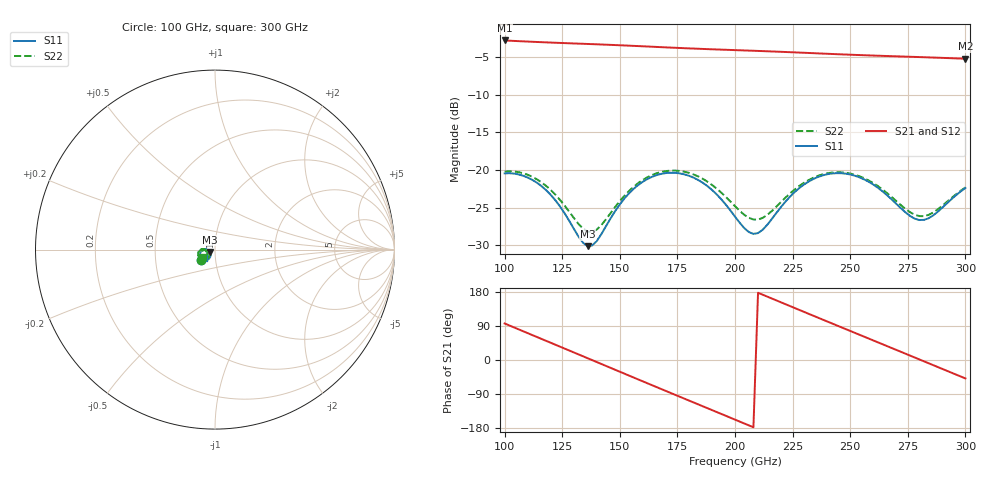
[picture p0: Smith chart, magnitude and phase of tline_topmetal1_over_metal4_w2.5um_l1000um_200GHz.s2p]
#  GHZ S DB R 50
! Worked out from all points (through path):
!   101 points, 100 GHz to 300 GHz, reference 50 ohm
!   highest |S21| = -2.78 dB at 100 GHz (marker M1); lowest = -5.2 dB at 300 GHz (marker M2)
!   group delay of S21, straight-line fit = 7.01 ps
!   lowest |S11| = -30.1 dB at 136 GHz (marker M3), VSWR 1.06, Z = 47.2 - j1.21 ohm
!   |S11| at or under -10 dB: start of sweep to end of sweep
!   |S22| runs from -28.2 to -20.1 dB; largest |S21 - S12| = 7.5e-14
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100  -20.45 -142.6  -2.78 96.4  -2.78 96.4  -20.21 -141.6
108  -20.76 -158.5  -2.90 76.0  -2.90 76.0  -20.43 -156.4
116  -22.14 -172.3  -3.01 55.7  -3.01 55.7  -21.64 -169.2
126  -25.74 178.8  -3.13 30.3  -3.13 30.3  -24.72 -176.8
134  -29.67 -165.3  -3.22 9.9  -3.22 9.9  -27.79 -164.5
136  -30.13 -155.8  -3.24 4.8  -3.24 4.8  -28.19 -157.6
140  -29.45 -136.5  -3.29 -5.4  -3.29 -5.4  -27.92 -142.9
150  -24.57 -123.2  -3.42 -30.9  -3.42 -30.9  -24.14 -128.5
160  -21.56 -134.2  -3.55 -56.4  -3.55 -56.4  -21.31 -136.8
168  -20.51 -147.2  -3.67 -76.7  -3.67 -76.7  -20.26 -148.2
182  -21.01 -170.1  -3.86 -112.0  -3.86 -112.0  -20.59 -169.0
192  -23.23 178.2  -3.97 -137.2  -3.97 -137.2  -22.46 -179.2
200  -26.19 179.0  -4.06 -157.3  -4.06 -157.3  -24.82 -178.7
206  -28.26 -166.9  -4.13 -172.5  -4.13 -172.5  -26.36 -168.6
210  -28.39 -152.1  -4.17 177.4  -4.17 177.4  -26.59 -158.2
222  -24.18 -133.0  -4.31 147.1  -4.31 147.1  -23.65 -141.2
234  -21.20 -143.7  -4.47 116.8  -4.47 116.8  -21.03 -149.1
250  -20.60 -166.1  -4.67 76.7  -4.67 76.7  -20.47 -169.3
268  -23.91 179.0  -4.87 31.7  -4.87 31.7  -23.59 177.1
282  -26.63 -158.9  -5.01 -3.5  -5.01 -3.5  -26.14 -162.9
290  -25.00 -144.6  -5.09 -23.5  -5.09 -23.5  -24.75 -149.4
300  -22.40 -144.5  -5.21 -48.6  -5.21 -48.6  -22.33 -148.6
